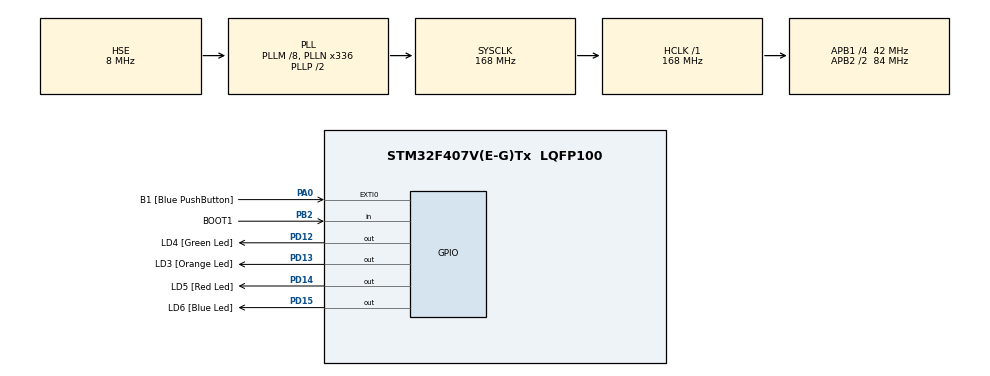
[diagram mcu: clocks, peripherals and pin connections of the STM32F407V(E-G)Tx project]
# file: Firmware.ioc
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Mcu.Family=STM32F4
Mcu.Name=STM32F407V(E-G)Tx
Mcu.Package=LQFP100
NVIC.PriorityGroup=NVIC_PRIORITYGROUP_0
PA0-WKUP.GPIO_Label=B1 [Blue PushButton]
PA0-WKUP.GPIO_ModeDefaultEXTI=GPIO_MODE_EVT_RISING
PA0-WKUP.GPIO_PuPd=GPIO_NOPULL
PA0-WKUP.Signal=GPXTI0
PA13.GPIO_Label=SWDIO
PA13.Mode=Serial_Wire
PA13.Signal=SYS_JTMS-SWDIO
PA14.GPIO_Label=SWCLK
PA14.Mode=Serial_Wire
PA14.Signal=SYS_JTCK-SWCLK
PB2.GPIO_Label=BOOT1
PB2.GPIO_Mode=GPIO_MODE_INPUT
PB2.GPIO_PuPd=GPIO_NOPULL
PB2.Signal=GPIO_Input
PD12.GPIO_Label=LD4 [Green Led]
PD12.GPIO_PuPd=GPIO_NOPULL
PD12.GPIO_Speed=GPIO_SPEED_FREQ_LOW
PD12.Signal=GPIO_Output
PD13.GPIO_Label=LD3 [Orange Led]
PD13.GPIO_PuPd=GPIO_NOPULL
PD13.GPIO_Speed=GPIO_SPEED_FREQ_LOW
PD13.Signal=GPIO_Output
PD14.GPIO_Label=LD5 [Red Led]
PD14.GPIO_PuPd=GPIO_NOPULL
PD14.GPIO_Speed=GPIO_SPEED_FREQ_LOW
PD14.Signal=GPIO_Output
PD15.GPIO_Label=LD6 [Blue Led]
PD15.GPIO_PuPd=GPIO_NOPULL
PD15.GPIO_Speed=GPIO_SPEED_FREQ_LOW
PD15.Signal=GPIO_Output
PH0-OSC_IN.GPIO_Label=PH0-OSC_IN
PH0-OSC_IN.Mode=HSE-External-Oscillator
PH0-OSC_IN.Signal=RCC_OSC_IN
PH1-OSC_OUT.GPIO_Label=PH1-OSC_OUT
PH1-OSC_OUT.Mode=HSE-External-Oscillator
PH1-OSC_OUT.Signal=RCC_OSC_OUT
ProjectManager.HeapSize=0x200
ProjectManager.StackSize=0x400
ProjectManager.TargetToolchain=Makefile
RCC.48MHZClocksFreq_Value=48000000
RCC.AHBFreq_Value=168000000
RCC.APB1CLKDivider=RCC_HCLK_DIV4
RCC.APB1Freq_Value=42000000
RCC.APB1TimFreq_Value=84000000
RCC.APB2CLKDivider=RCC_HCLK_DIV2
RCC.APB2Freq_Value=84000000
RCC.APB2TimFreq_Value=168000000
RCC.CortexFreq_Value=168000000
RCC.HCLKFreq_Value=168000000
RCC.HSE_VALUE=8000000
RCC.HSI_VALUE=16000000
RCC.PLLM=8
RCC.PLLN=336
RCC.PLLQ=7
RCC.PLLSourceVirtual=RCC_PLLSOURCE_HSE
RCC.SYSCLKFreq_VALUE=168000000
RCC.SYSCLKSource=RCC_SYSCLKSOURCE_PLLCLK
RCC.VCOOutputFreq_Value=336000000
board=STM32F4DISCOVERY

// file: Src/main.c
/* USER CODE BEGIN Header */
/**
  ******************************************************************************
  * @file           : main.c
  * @brief          : Main program body
  ******************************************************************************
  * @attention
  *
  * <h2><center>&copy; Copyright (c) 2019 STMicroelectronics.
  * All rights reserved.</center></h2>
  *
  * This software component is licensed by ST under BSD 3-Clause license,
  * the "License"; You may not use this file except in compliance with the
  * License. You may obtain a copy of the License at:
  *                        opensource.org/licenses/BSD-3-Clause
  *
  ******************************************************************************
  */
/* USER CODE END Header */

#include "main.h"

/* USER CODE BEGIN PV */
uint8_t leds = 0x1;
/* USER CODE END PV */

void SystemClock_Config(void);
static void MX_GPIO_Init(void);

/* USER CODE BEGIN 0 */
void Leds_Set(uint8_t data)
{
	if(data & 0x1) // Orange
		HAL_GPIO_WritePin(LD3_GPIO_Port, LD3_Pin, GPIO_PIN_SET);
	else
		HAL_GPIO_WritePin(LD3_GPIO_Port, LD3_Pin, GPIO_PIN_RESET);

	if(data & 0x2) // Green
		HAL_GPIO_WritePin(LD4_GPIO_Port, LD4_Pin, GPIO_PIN_SET);
	else
		HAL_GPIO_WritePin(LD4_GPIO_Port, LD4_Pin, GPIO_PIN_RESET);

	if(data & 0x8) // Blue
		HAL_GPIO_WritePin(LD5_GPIO_Port, LD5_Pin, GPIO_PIN_SET);
	else
		HAL_GPIO_WritePin(LD5_GPIO_Port, LD5_Pin, GPIO_PIN_RESET);

	if(data & 0x4) // Red
		HAL_GPIO_WritePin(LD6_GPIO_Port, LD6_Pin, GPIO_PIN_SET);
	else
		HAL_GPIO_WritePin(LD6_GPIO_Port, LD6_Pin, GPIO_PIN_RESET);
}
/* USER CODE END 0 */

int main(void)
{

  /* MCU Configuration--------------------------------------------------------*/

  /* Reset of all peripherals, Initializes the Flash interface and the Systick. */
  HAL_Init();

  /* Configure the system clock */
  SystemClock_Config();

  /* Initialize all configured peripherals */
  MX_GPIO_Init();

  /* Infinite loop */
  while (1)
  {
	leds = ((leds<<1) & 0xE) | (!(leds>>3) & 0x1);
	Leds_Set(leds);
	HAL_Delay(250);
  }
}

void SystemClock_Config(void)
{
  RCC_OscInitTypeDef RCC_OscInitStruct = {0};
  RCC_ClkInitTypeDef RCC_ClkInitStruct = {0};

  /** Configure the main internal regulator output voltage
  */
  __HAL_RCC_PWR_CLK_ENABLE();
  __HAL_PWR_VOLTAGESCALING_CONFIG(PWR_REGULATOR_VOLTAGE_SCALE1);
  /** Initializes the CPU, AHB and APB busses clocks
  */
  RCC_OscInitStruct.OscillatorType = RCC_OSCILLATORTYPE_HSE;
  RCC_OscInitStruct.HSEState = RCC_HSE_ON;
  RCC_OscInitStruct.PLL.PLLState = RCC_PLL_ON;
  RCC_OscInitStruct.PLL.PLLSource = RCC_PLLSOURCE_HSE;
  RCC_OscInitStruct.PLL.PLLM = 8;
  RCC_OscInitStruct.PLL.PLLN = 336;
  RCC_OscInitStruct.PLL.PLLP = RCC_PLLP_DIV2;
  RCC_OscInitStruct.PLL.PLLQ = 7;
  if (HAL_RCC_OscConfig(&RCC_OscInitStruct) != HAL_OK)
  {
    Error_Handler();
  }
  /** Initializes the CPU, AHB and APB busses clocks
  */
  RCC_ClkInitStruct.ClockType = RCC_CLOCKTYPE_HCLK|RCC_CLOCKTYPE_SYSCLK
                              |RCC_CLOCKTYPE_PCLK1|RCC_CLOCKTYPE_PCLK2;
  RCC_ClkInitStruct.SYSCLKSource = RCC_SYSCLKSOURCE_PLLCLK;
  RCC_ClkInitStruct.AHBCLKDivider = RCC_SYSCLK_DIV1;
  RCC_ClkInitStruct.APB1CLKDivider = RCC_HCLK_DIV4;
  RCC_ClkInitStruct.APB2CLKDivider = RCC_HCLK_DIV2;

  if (HAL_RCC_ClockConfig(&RCC_ClkInitStruct, FLASH_LATENCY_5) != HAL_OK)
  {
    Error_Handler();
  }
}

static void MX_GPIO_Init(void)
{
  GPIO_InitTypeDef GPIO_InitStruct = {0};

  /* GPIO Ports Clock Enable */
  __HAL_RCC_GPIOH_CLK_ENABLE();
  __HAL_RCC_GPIOA_CLK_ENABLE();
  __HAL_RCC_GPIOB_CLK_ENABLE();
  __HAL_RCC_GPIOD_CLK_ENABLE();

  /*Configure GPIO pin Output Level */
  HAL_GPIO_WritePin(GPIOD, LD4_Pin|LD3_Pin|LD5_Pin|LD6_Pin, GPIO_PIN_RESET);

  /*Configure GPIO pin : B1_Pin */
  GPIO_InitStruct.Pin = B1_Pin;
  GPIO_InitStruct.Mode = GPIO_MODE_EVT_RISING;
  GPIO_InitStruct.Pull = GPIO_NOPULL;
  HAL_GPIO_Init(B1_GPIO_Port, &GPIO_InitStruct);

  /*Configure GPIO pin : BOOT1_Pin */
  GPIO_InitStruct.Pin = BOOT1_Pin;
  GPIO_InitStruct.Mode = GPIO_MODE_INPUT;
  GPIO_InitStruct.Pull = GPIO_NOPULL;
  HAL_GPIO_Init(BOOT1_GPIO_Port, &GPIO_InitStruct);

  /*Configure GPIO pins : LD4_Pin LD3_Pin LD5_Pin LD6_Pin */
  GPIO_InitStruct.Pin = LD4_Pin|LD3_Pin|LD5_Pin|LD6_Pin;
  GPIO_InitStruct.Mode = GPIO_MODE_OUTPUT_PP;
  GPIO_InitStruct.Pull = GPIO_NOPULL;
  GPIO_InitStruct.Speed = GPIO_SPEED_FREQ_LOW;
  HAL_GPIO_Init(GPIOD, &GPIO_InitStruct);

}

void Error_Handler(void)
{
}

/************************ (C) COPYRIGHT STMicroelectronics *****END OF FILE****/
